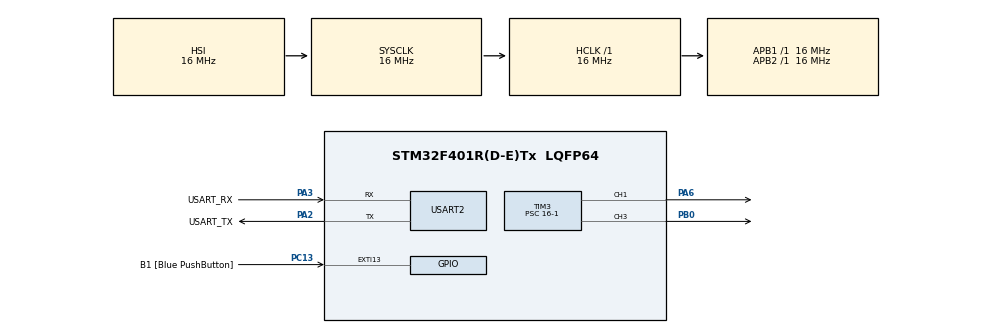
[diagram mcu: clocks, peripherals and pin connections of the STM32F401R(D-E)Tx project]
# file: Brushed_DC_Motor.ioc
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Mcu.Family=STM32F4
Mcu.Name=STM32F401R(D-E)Tx
Mcu.Package=LQFP64
NVIC.PriorityGroup=NVIC_PRIORITYGROUP_0
PA13.GPIO_Label=TMS
PA13.Mode=Serial_Wire
PA13.Signal=SYS_JTMS-SWDIO
PA14.GPIO_Label=TCK
PA14.Mode=Serial_Wire
PA14.Signal=SYS_JTCK-SWCLK
PA2.GPIO_Label=USART_TX
PA2.GPIO_Mode=GPIO_MODE_AF_PP
PA2.GPIO_PuPd=GPIO_NOPULL
PA2.GPIO_Speed=GPIO_SPEED_FREQ_LOW
PA2.Mode=Asynchronous
PA2.Signal=USART2_TX
PA3.GPIO_Label=USART_RX
PA3.GPIO_Mode=GPIO_MODE_AF_PP
PA3.GPIO_PuPd=GPIO_NOPULL
PA3.GPIO_Speed=GPIO_SPEED_FREQ_LOW
PA3.Mode=Asynchronous
PA3.Signal=USART2_RX
PA6.Signal=S_TIM3_CH1
PB0.Signal=S_TIM3_CH3
PB3.GPIO_Label=SWO
PB3.Signal=SYS_JTDO-SWO
PC13-ANTI_TAMP.GPIO_Label=B1 [Blue PushButton]
PC13-ANTI_TAMP.GPIO_ModeDefaultEXTI=GPIO_MODE_IT_FALLING
PC13-ANTI_TAMP.GPIO_PuPd=GPIO_NOPULL
PC13-ANTI_TAMP.Signal=GPXTI13
PC14-OSC32_IN.Mode=LSE-External-Oscillator
PC14-OSC32_IN.Signal=RCC_OSC32_IN
PC15-OSC32_OUT.Mode=LSE-External-Oscillator
PC15-OSC32_OUT.Signal=RCC_OSC32_OUT
PH0\ -\ OSC_IN.Mode=HSE-External-Clock-Source
PH0\ -\ OSC_IN.Signal=RCC_OSC_IN
PH1\ -\ OSC_OUT.Mode=HSE-External-Clock-Source
PH1\ -\ OSC_OUT.Signal=RCC_OSC_OUT
ProjectManager.HeapSize=0x200
ProjectManager.StackSize=0x400
ProjectManager.TargetToolchain=STM32CubeIDE
RCC.48MHZClocksFreq_Value=48000000
RCC.AHBFreq_Value=16000000
RCC.APB1Freq_Value=16000000
RCC.APB1TimFreq_Value=16000000
RCC.APB2Freq_Value=16000000
RCC.APB2TimFreq_Value=16000000
RCC.CortexFreq_Value=16000000
RCC.HCLKFreq_Value=16000000
RCC.HSE_VALUE=8000000
RCC.HSI_VALUE=16000000
RCC.PLLN=336
RCC.PLLP=RCC_PLLP_DIV4
RCC.PLLQ=7
RCC.SYSCLKFreq_VALUE=16000000
RCC.VCOOutputFreq_Value=336000000
SH.S_TIM3_CH1.0=TIM3_CH1,PWM Generation1 CH1
SH.S_TIM3_CH3.0=TIM3_CH3,PWM Generation3 CH3
TIM3.AutoReloadPreload=TIM_AUTORELOAD_PRELOAD_ENABLE
TIM3.Channel-PWM\ Generation1\ CH1=TIM_CHANNEL_1
TIM3.Channel-PWM\ Generation3\ CH3=TIM_CHANNEL_3
TIM3.Period=2000-1
TIM3.Prescaler=16-1
TIM3.Pulse-PWM\ Generation1\ CH1=1200-1
USART2.VirtualMode=VM_ASYNC
VP_TIM3_VS_ClockSourceINT.Mode=Internal
board=NUCLEO-F401RE

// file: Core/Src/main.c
/* USER CODE BEGIN Header */
/**
  ******************************************************************************
  * @file           : main.c
  * @brief          : Main program body
  ******************************************************************************
  * @attention
  *
  * Copyright (c) 2024 STMicroelectronics.
  * All rights reserved.
  *
  * This software is licensed under terms that can be found in the LICENSE file
  * in the root directory of this software component.
  * If no LICENSE file comes with this software, it is provided AS-IS.
  *
  ******************************************************************************
  */
/* USER CODE END Header */
#include "main.h"

TIM_HandleTypeDef htim3;

UART_HandleTypeDef huart2;

void SystemClock_Config(void);
static void MX_GPIO_Init(void);
static void MX_USART2_UART_Init(void);
static void MX_TIM3_Init(void);

int main(void)
{

  /* MCU Configuration--------------------------------------------------------*/

  /* Reset of all peripherals, Initializes the Flash interface and the Systick. */
  HAL_Init();

  /* Configure the system clock */
  SystemClock_Config();

  /* Initialize all configured peripherals */
  MX_GPIO_Init();
  MX_USART2_UART_Init();
  MX_TIM3_Init();
  /* USER CODE BEGIN 2 */
  HAL_TIM_Base_Init(&htim3);
  HAL_TIM_PWM_Start(&htim3, TIM_CHANNEL_1);
  HAL_TIM_PWM_Start(&htim3, TIM_CHANNEL_3);
  TIM3->PSC = 0;
  TIM3->ARR = 60000;
  TIM3->CCR1 = 0;
  TIM3->CCR3 = 0;
//  uint32_t defaultCh = TIM3->CCR1;
//  int ccr1 = 0;
  int TIM3_Ch_DCVAL = 0;
  /* USER CODE END 2 */

  /* Infinite loop */
  /* USER CODE BEGIN WHILE */
  while (1)
  {
	 while(TIM3_Ch_DCVAL < 60000) {
		 TIM3_Ch_DCVAL += (50);
		 TIM3->CCR1 = TIM3_Ch_DCVAL;
		 HAL_Delay(1);
	 }

	 HAL_Delay(5000);

	 while(TIM3_Ch_DCVAL > 0) {
		TIM3_Ch_DCVAL -= (50);
		TIM3->CCR1 = TIM3_Ch_DCVAL;
		HAL_Delay(1);
	 }

	 HAL_Delay(5000);

	 while(TIM3_Ch_DCVAL < 60000) {
		 TIM3_Ch_DCVAL += (50);
		 TIM3->CCR3 = TIM3_Ch_DCVAL;
		 HAL_Delay(1);
	 }

	 HAL_Delay(5000);

	 while(TIM3_Ch_DCVAL > 0) {
		TIM3_Ch_DCVAL -= (50);
		TIM3->CCR3 = TIM3_Ch_DCVAL;
		HAL_Delay(1);
	 }

//	 if (ccr1 == 0) {
//		 TIM3->CCR1 = 0;
//		 defaultCh = TIM3 ->CCR3;
//		 ccr1 = 1;
//
//	 } else if (ccr1 == 1) {
//		 TIM3->CCR3 = 0;
//		 defaultCh = TIM3->CCR1;
//		 ccr1 = 0;
//	 }
    /* USER CODE END WHILE */

  }
}

void SystemClock_Config(void)
{
  RCC_OscInitTypeDef RCC_OscInitStruct = {0};
  RCC_ClkInitTypeDef RCC_ClkInitStruct = {0};

  /** Configure the main internal regulator output voltage
  */
  __HAL_RCC_PWR_CLK_ENABLE();
  __HAL_PWR_VOLTAGESCALING_CONFIG(PWR_REGULATOR_VOLTAGE_SCALE2);

  /** Initializes the RCC Oscillators according to the specified parameters
  * in the RCC_OscInitTypeDef structure.
  */
  RCC_OscInitStruct.OscillatorType = RCC_OSCILLATORTYPE_HSI;
  RCC_OscInitStruct.HSIState = RCC_HSI_ON;
  RCC_OscInitStruct.HSICalibrationValue = RCC_HSICALIBRATION_DEFAULT;
  RCC_OscInitStruct.PLL.PLLState = RCC_PLL_NONE;
  if (HAL_RCC_OscConfig(&RCC_OscInitStruct) != HAL_OK)
  {
    Error_Handler();
  }

  /** Initializes the CPU, AHB and APB buses clocks
  */
  RCC_ClkInitStruct.ClockType = RCC_CLOCKTYPE_HCLK|RCC_CLOCKTYPE_SYSCLK
                              |RCC_CLOCKTYPE_PCLK1|RCC_CLOCKTYPE_PCLK2;
  RCC_ClkInitStruct.SYSCLKSource = RCC_SYSCLKSOURCE_HSI;
  RCC_ClkInitStruct.AHBCLKDivider = RCC_SYSCLK_DIV1;
  RCC_ClkInitStruct.APB1CLKDivider = RCC_HCLK_DIV1;
  RCC_ClkInitStruct.APB2CLKDivider = RCC_HCLK_DIV1;

  if (HAL_RCC_ClockConfig(&RCC_ClkInitStruct, FLASH_LATENCY_0) != HAL_OK)
  {
    Error_Handler();
  }
}

static void MX_TIM3_Init(void)
{

  TIM_ClockConfigTypeDef sClockSourceConfig = {0};
  TIM_MasterConfigTypeDef sMasterConfig = {0};
  TIM_OC_InitTypeDef sConfigOC = {0};

  htim3.Instance = TIM3;
  htim3.Init.Prescaler = 16-1;
  htim3.Init.CounterMode = TIM_COUNTERMODE_UP;
  htim3.Init.Period = 2000-1;
  htim3.Init.ClockDivision = TIM_CLOCKDIVISION_DIV1;
  htim3.Init.AutoReloadPreload = TIM_AUTORELOAD_PRELOAD_ENABLE;
  if (HAL_TIM_Base_Init(&htim3) != HAL_OK)
  {
    Error_Handler();
  }
  sClockSourceConfig.ClockSource = TIM_CLOCKSOURCE_INTERNAL;
  if (HAL_TIM_ConfigClockSource(&htim3, &sClockSourceConfig) != HAL_OK)
  {
    Error_Handler();
  }
  if (HAL_TIM_PWM_Init(&htim3) != HAL_OK)
  {
    Error_Handler();
  }
  sMasterConfig.MasterOutputTrigger = TIM_TRGO_RESET;
  sMasterConfig.MasterSlaveMode = TIM_MASTERSLAVEMODE_DISABLE;
  if (HAL_TIMEx_MasterConfigSynchronization(&htim3, &sMasterConfig) != HAL_OK)
  {
    Error_Handler();
  }
  sConfigOC.OCMode = TIM_OCMODE_PWM1;
  sConfigOC.Pulse = 1200-1;
  sConfigOC.OCPolarity = TIM_OCPOLARITY_HIGH;
  sConfigOC.OCFastMode = TIM_OCFAST_DISABLE;
  if (HAL_TIM_PWM_ConfigChannel(&htim3, &sConfigOC, TIM_CHANNEL_1) != HAL_OK)
  {
    Error_Handler();
  }
  sConfigOC.Pulse = 0;
  if (HAL_TIM_PWM_ConfigChannel(&htim3, &sConfigOC, TIM_CHANNEL_3) != HAL_OK)
  {
    Error_Handler();
  }
  HAL_TIM_MspPostInit(&htim3);

}

static void MX_USART2_UART_Init(void)
{

  huart2.Instance = USART2;
  huart2.Init.BaudRate = 115200;
  huart2.Init.WordLength = UART_WORDLENGTH_8B;
  huart2.Init.StopBits = UART_STOPBITS_1;
  huart2.Init.Parity = UART_PARITY_NONE;
  huart2.Init.Mode = UART_MODE_TX_RX;
  huart2.Init.HwFlowCtl = UART_HWCONTROL_NONE;
  huart2.Init.OverSampling = UART_OVERSAMPLING_16;
  if (HAL_UART_Init(&huart2) != HAL_OK)
  {
    Error_Handler();
  }

}

static void MX_GPIO_Init(void)
{
  GPIO_InitTypeDef GPIO_InitStruct = {0};

  /* GPIO Ports Clock Enable */
  __HAL_RCC_GPIOC_CLK_ENABLE();
  __HAL_RCC_GPIOH_CLK_ENABLE();
  __HAL_RCC_GPIOA_CLK_ENABLE();
  __HAL_RCC_GPIOB_CLK_ENABLE();

  /*Configure GPIO pin : B1_Pin */
  GPIO_InitStruct.Pin = B1_Pin;
  GPIO_InitStruct.Mode = GPIO_MODE_IT_FALLING;
  GPIO_InitStruct.Pull = GPIO_NOPULL;
  HAL_GPIO_Init(B1_GPIO_Port, &GPIO_InitStruct);

}

void Error_Handler(void)
{
  __disable_irq();
  while (1)
  {
  }
}
